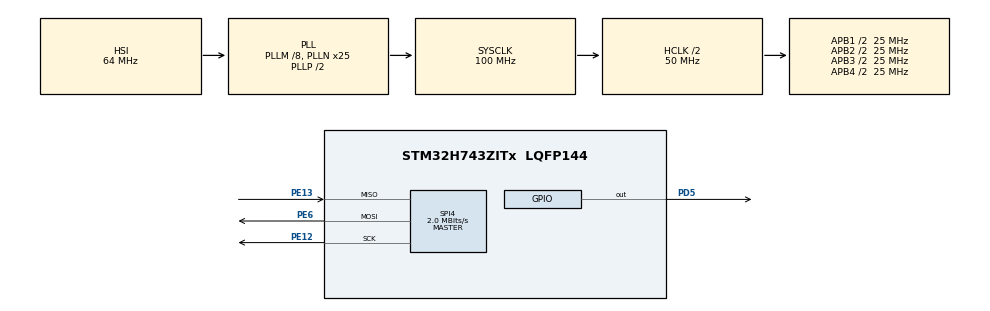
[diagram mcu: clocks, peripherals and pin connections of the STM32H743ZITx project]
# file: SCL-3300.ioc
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Mcu.Family=STM32H7
Mcu.Name=STM32H743ZITx
Mcu.Package=LQFP144
NVIC.PriorityGroup=NVIC_PRIORITYGROUP_4
PA13\ (JTMS/SWDIO).Mode=Serial_Wire
PA13\ (JTMS/SWDIO).Signal=DEBUG_JTMS-SWDIO
PA14\ (JTCK/SWCLK).Mode=Serial_Wire
PA14\ (JTCK/SWCLK).Signal=DEBUG_JTCK-SWCLK
PD5.Signal=GPIO_Output
PE12.Mode=Full_Duplex_Master
PE12.Signal=SPI4_SCK
PE13.Mode=Full_Duplex_Master
PE13.Signal=SPI4_MISO
PE6.Mode=Full_Duplex_Master
PE6.Signal=SPI4_MOSI
ProjectManager.HeapSize=0x200
ProjectManager.StackSize=0x400
ProjectManager.TargetToolchain=STM32CubeIDE
RCC.ADCFreq_Value=129000000
RCC.APB1Freq_Value=25000000
RCC.APB2Freq_Value=25000000
RCC.APB3Freq_Value=25000000
RCC.APB4Freq_Value=25000000
RCC.CortexFreq_Value=100000000
RCC.D1PPRE=RCC_APB3_DIV2
RCC.D2PPRE1=RCC_APB1_DIV2
RCC.D2PPRE2=RCC_APB2_DIV2
RCC.D3PPRE=RCC_APB4_DIV2
RCC.DIVM1=8
RCC.DIVN1=25
RCC.HCLKFreq_Value=50000000
RCC.HPRE=RCC_HCLK_DIV2
RCC.SPI123CLockSelection=RCC_SPI123CLKSOURCE_CLKP
RCC.SYSCLKFreq_VALUE=100000000
RCC.SYSCLKSource=RCC_SYSCLKSOURCE_PLLCLK
RCC.Spi45ClockSelection=RCC_SPI45CLKSOURCE_CSI
RCC.USBFreq_Value=100000000
SPI4.CalculateBaudRate=2.0 MBits/s
SPI4.DataSize=SPI_DATASIZE_8BIT
SPI4.Direction=SPI_DIRECTION_2LINES
SPI4.Mode=SPI_MODE_MASTER
SPI4.VirtualType=VM_MASTER
board=custom

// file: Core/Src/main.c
/* USER CODE BEGIN Header */
/**
  ******************************************************************************
  * @file           : main.c
  * @brief          : Main program body
  ******************************************************************************
  * @attention
  *
  * Copyright (c) 2023 STMicroelectronics.
  * All rights reserved.
  *
  * This software is licensed under terms that can be found in the LICENSE file
  * in the root directory of this software component.
  * If no LICENSE file comes with this software, it is provided AS-IS.
  *
  ******************************************************************************
  */
/* USER CODE END Header */
#include "main.h"
#include "spi.h"
#include "gpio.h"

/* USER CODE BEGIN Includes */
#include "scl3300.h"
/* USER CODE END Includes */

/* USER CODE BEGIN PV */
double SCL_TEMP;
double Accel_X;
double Accel_Y;
double Accel_Z;
double Angle_X;
double Angle_Y;
double Angle_Z;
float start_time, end_time, execution_time, freq;
/* USER CODE END PV */

void SystemClock_Config(void);

int main(void)
{

  /* MCU Configuration--------------------------------------------------------*/

  /* Reset of all peripherals, Initializes the Flash interface and the Systick. */
  HAL_Init();

  /* Configure the system clock */
  SystemClock_Config();

  /* Initialize all configured peripherals */
  MX_GPIO_Init();
  MX_SPI4_Init();
  /* USER CODE BEGIN 2 */

  struct SCL dev;
  SCL3300_Init();

  /* USER CODE END 2 */

  /* Infinite loop */
  /* USER CODE BEGIN WHILE */
  while (1)
  {
	  start_time = HAL_GetTick();
      Acc_X(&dev);
      Acc_Y(&dev);
      Acc_Z(&dev);
      Temp(&dev);
      Ang_X(&dev);
      Ang_Y(&dev);
      Ang_Z(&dev);

      SCL_TEMP = dev.TEMP;
      Angle_X = dev.ANG_X;
      Angle_Y = dev.ANG_Y;
      Angle_Z = dev.ANG_Z;

      end_time = HAL_GetTick();
      execution_time = end_time - start_time;
      execution_time = execution_time / 1000;
      freq = 1 / execution_time;
    /* USER CODE END WHILE */

  }
}

void SystemClock_Config(void)
{
  RCC_OscInitTypeDef RCC_OscInitStruct = {0};
  RCC_ClkInitTypeDef RCC_ClkInitStruct = {0};

  /** Supply configuration update enable
  */
  HAL_PWREx_ConfigSupply(PWR_LDO_SUPPLY);

  /** Configure the main internal regulator output voltage
  */
  __HAL_PWR_VOLTAGESCALING_CONFIG(PWR_REGULATOR_VOLTAGE_SCALE3);

  while(!__HAL_PWR_GET_FLAG(PWR_FLAG_VOSRDY)) {}

  /** Initializes the RCC Oscillators according to the specified parameters
  * in the RCC_OscInitTypeDef structure.
  */
  RCC_OscInitStruct.OscillatorType = RCC_OSCILLATORTYPE_CSI|RCC_OSCILLATORTYPE_HSI;
  RCC_OscInitStruct.HSIState = RCC_HSI_DIV1;
  RCC_OscInitStruct.HSICalibrationValue = RCC_HSICALIBRATION_DEFAULT;
  RCC_OscInitStruct.CSIState = RCC_CSI_ON;
  RCC_OscInitStruct.CSICalibrationValue = RCC_CSICALIBRATION_DEFAULT;
  RCC_OscInitStruct.PLL.PLLState = RCC_PLL_ON;
  RCC_OscInitStruct.PLL.PLLSource = RCC_PLLSOURCE_HSI;
  RCC_OscInitStruct.PLL.PLLM = 8;
  RCC_OscInitStruct.PLL.PLLN = 25;
  RCC_OscInitStruct.PLL.PLLP = 2;
  RCC_OscInitStruct.PLL.PLLQ = 2;
  RCC_OscInitStruct.PLL.PLLR = 2;
  RCC_OscInitStruct.PLL.PLLRGE = RCC_PLL1VCIRANGE_3;
  RCC_OscInitStruct.PLL.PLLVCOSEL = RCC_PLL1VCOWIDE;
  RCC_OscInitStruct.PLL.PLLFRACN = 0;
  if (HAL_RCC_OscConfig(&RCC_OscInitStruct) != HAL_OK)
  {
    Error_Handler();
  }

  /** Initializes the CPU, AHB and APB buses clocks
  */
  RCC_ClkInitStruct.ClockType = RCC_CLOCKTYPE_HCLK|RCC_CLOCKTYPE_SYSCLK
                              |RCC_CLOCKTYPE_PCLK1|RCC_CLOCKTYPE_PCLK2
                              |RCC_CLOCKTYPE_D3PCLK1|RCC_CLOCKTYPE_D1PCLK1;
  RCC_ClkInitStruct.SYSCLKSource = RCC_SYSCLKSOURCE_PLLCLK;
  RCC_ClkInitStruct.SYSCLKDivider = RCC_SYSCLK_DIV1;
  RCC_ClkInitStruct.AHBCLKDivider = RCC_HCLK_DIV2;
  RCC_ClkInitStruct.APB3CLKDivider = RCC_APB3_DIV2;
  RCC_ClkInitStruct.APB1CLKDivider = RCC_APB1_DIV2;
  RCC_ClkInitStruct.APB2CLKDivider = RCC_APB2_DIV2;
  RCC_ClkInitStruct.APB4CLKDivider = RCC_APB4_DIV2;

  if (HAL_RCC_ClockConfig(&RCC_ClkInitStruct, FLASH_LATENCY_1) != HAL_OK)
  {
    Error_Handler();
  }
}

void Error_Handler(void)
{
  __disable_irq();
  while (1)
  {
  }
}
